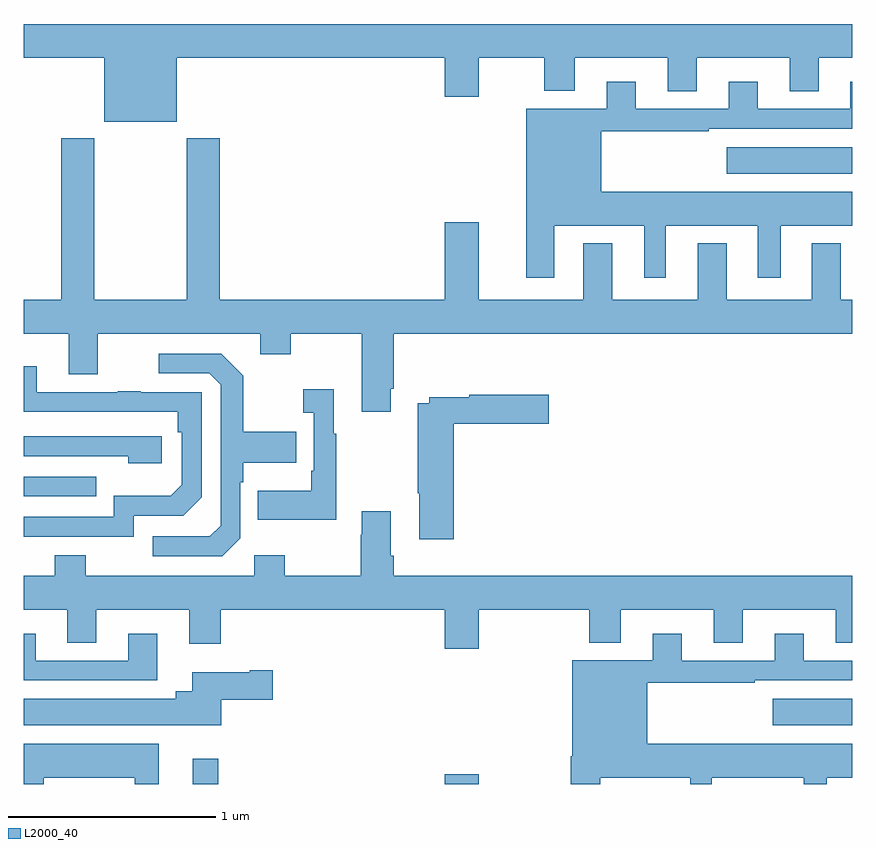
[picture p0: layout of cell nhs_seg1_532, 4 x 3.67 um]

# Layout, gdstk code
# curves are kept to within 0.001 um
import gdstk
lib = gdstk.Library(unit=1e-6, precision=1e-09)
def R(c, l, rs):  # rectangles x0, y0, x1, y1
    for r in rs: c.add(gdstk.rectangle(r[:2], r[2:], *l))
def P(c, l, *ps):  # polygons
    for p in ps: c.add(gdstk.Polygon(p, *l))
L2000_40 = (2000, 40)

nhs_seg1_532 = lib.new_cell('nhs_seg1_532')
R(nhs_seg1_532, L2000_40, [(139.817,576.199,139.939,576.322), (141.032,576.199,141.196,576.247), (142.617,576.482,143,576.61), (139,577.587,139.349,577.683), (142.395,579.146,143,579.274)])
P(nhs_seg1_532, L2000_40, [(139.738,579.704),(141.032,579.704),(141.032,579.516),(141.196,579.516),(141.196,579.704),(141.514,579.704),(141.514,579.545),(141.661,579.545),(141.661,579.704),(142.109,579.704),(142.109,579.544),(142.249,579.544),(142.249,579.704),(142.697,579.704),(142.697,579.544),(142.837,579.544),(142.837,579.704),(143,579.704),(143,579.868),(139,579.868),(139,579.704),(139.388,579.704),(139.388,579.395),(139.738,579.395)],
  [(141.562,578.894),(141.995,578.894),(141.995,578.643),(142.099,578.643),(142.099,578.894),(142.544,578.894),(142.544,578.643),(142.654,578.643),(142.654,578.894),(143,578.894),(143,579.058),(141.787,579.058),(141.787,579.351),(142.307,579.351),(142.307,579.363),(143,579.363),(143,579.589),(142.991,579.589),(142.991,579.459),(142.543,579.459),(142.543,579.589),(142.403,579.589),(142.403,579.459),(141.955,579.459),(141.955,579.589),(141.815,579.589),(141.815,579.46),(141.425,579.46),(141.425,578.643),(141.562,578.643)],
  [(140.773,578.107),(140.786,578.107),(140.786,578.372),(143,578.372),(143,578.536),(142.945,578.536),(142.945,578.809),(142.805,578.809),(142.805,578.536),(142.393,578.536),(142.393,578.809),(142.253,578.809),(142.253,578.536),(141.841,578.536),(141.841,578.809),(141.701,578.809),(141.701,578.536),(141.196,578.536),(141.196,578.911),(141.032,578.911),(141.032,578.536),(139.946,578.536),(139.946,579.316),(139.786,579.316),(139.786,578.536),(139.341,578.536),(139.341,579.316),(139.181,579.316),(139.181,578.536),(139,578.536),(139,578.372),(139.217,578.372),(139.217,578.178),(139.357,578.178),(139.357,578.372),(140.141,578.372),(140.141,578.273),(140.289,578.273),(140.289,578.372),(140.633,578.372),(140.633,577.995),(140.773,577.995)],
  [(140.046,577.386),(140.046,577.655),(140.059,577.655),(140.059,577.751),(140.315,577.751),(140.315,577.899),(140.059,577.899),(140.059,578.171),(139.953,578.277),(139.653,578.277),(139.653,578.181),(139.896,578.181),(139.95,578.127),(139.95,577.446),(139.899,577.395),(139.623,577.395),(139.623,577.299),(139.959,577.299)],
  [(139.53,577.494),(139.77,577.494),(139.86,577.584),(139.86,578.091),(139.565,578.091),(139.565,578.096),(139.453,578.096),(139.453,578.091),(139.063,578.091),(139.063,578.215),(139,578.215),(139,577.996),(139.744,577.995),(139.744,577.898),(139.764,577.898),(139.764,577.644),(139.711,577.591),(139.434,577.591),(139.434,577.488),(139,577.488),(139,577.392),(139.53,577.392)],
  [(140.509,577.891),(140.497,577.891),(140.497,578.104),(140.349,578.104),(140.349,577.991),(140.4,577.991),(140.4,577.711),(140.388,577.711),(140.388,577.615),(140.131,577.615),(140.131,577.475),(140.509,577.475)],
  [(141.077,577.937),(141.535,577.937),(141.535,578.079),(141.15,578.079),(141.15,578.067),(140.958,578.067),(140.958,578.038),(140.902,578.038),(140.902,577.603),(140.909,577.603),(140.909,577.38),(141.077,577.38)],
  [(139.666,577.878),(139,577.878),(139,577.782),(139.505,577.782),(139.505,577.748),(139.666,577.748)],
  [(141.196,577.04),(141.731,577.04),(141.731,576.881),(141.883,576.881),(141.883,577.04),(142.331,577.04),(142.331,576.88),(142.471,576.88),(142.471,577.04),(142.919,577.04),(142.919,576.88),(143,576.88),(143,577.204),(140.786,577.204),(140.786,577.3),(140.773,577.3),(140.773,577.516),(140.633,577.516),(140.633,577.403),(140.626,577.403),(140.626,577.204),(140.259,577.204),(140.259,577.303),(140.112,577.303),(140.112,577.204),(139.299,577.204),(139.299,577.303),(139.151,577.303),(139.151,577.204),(139,577.204),(139,577.04),(139.211,577.04),(139.211,576.88),(139.351,576.88),(139.351,577.04),(139.799,577.04),(139.799,576.876),(139.952,576.876),(139.952,577.04),(141.032,577.04),(141.032,576.852),(141.196,576.852)],
  [(141.784,576.23),(142.217,576.23),(142.217,576.199),(142.321,576.199),(142.321,576.23),(142.766,576.23),(142.766,576.199),(142.876,576.199),(142.876,576.23),(143,576.23),(143,576.394),(142.009,576.394),(142.009,576.687),(142.529,576.687),(142.529,576.699),(143,576.699),(143,576.795),(142.765,576.795),(142.765,576.925),(142.625,576.925),(142.625,576.795),(142.177,576.795),(142.177,576.925),(142.037,576.925),(142.037,576.796),(141.647,576.796),(141.647,576.334),(141.64,576.334),(141.64,576.199),(141.784,576.199)],
  [(139.645,576.925),(139.505,576.925),(139.505,576.795),(139.057,576.795),(139.057,576.925),(139,576.925),(139,576.699),(139.645,576.699)],
  [(139.954,576.605),(140.203,576.605),(140.203,576.747),(140.09,576.747),(140.09,576.739),(139.814,576.739),(139.814,576.646),(139.733,576.646),(139.733,576.61),(139,576.61),(139,576.482),(139.954,576.482)],
  [(139.096,576.23),(139.535,576.23),(139.535,576.199),(139.651,576.199),(139.651,576.394),(139,576.394),(139,576.199),(139.096,576.199)])

lib.write_gds('nhs_seg1_532.gds')
